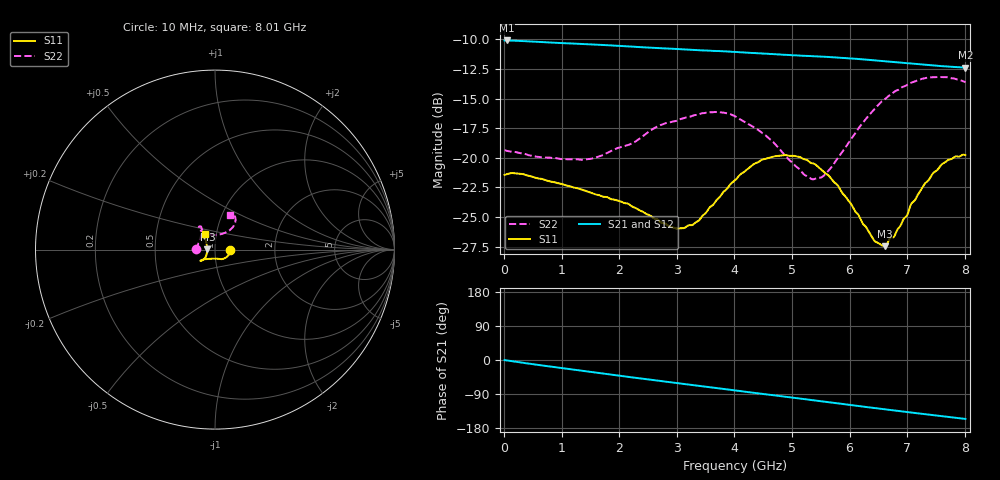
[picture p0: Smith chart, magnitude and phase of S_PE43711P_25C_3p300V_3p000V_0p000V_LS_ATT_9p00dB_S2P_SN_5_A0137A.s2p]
! Device ID: PE43711P
! File Path: z:\PE43711P\CHAR_NOM_04282014\AMB\3p300\LS_ATT_9p00dB\PE43711P_AMB_3p300V_3p000V_0p000V_LS_ATT_9p00dB_S2P_SN_5_A0137A.s2p
! Serial: 5
! Lot: A0137A
! Temp: 25C
! VDD: 3.300
! VSS: 0.000
! Control_Hi: 3.000
! Control_Lo: 0.000
! Attenuation Step: 9.00dB
! Port 1: RF1
! Port 2: RF2
! ThroughPath:1-2
! IDD: 0.00012774
! ISS: -3.74e-008
#  Hz  S  RI  R  50
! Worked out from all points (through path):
!   801 points, 10 MHz to 8.01 GHz, reference 50 ohm
!   highest |S21| = -10.10 dB at 50 MHz (marker M1); lowest = -12.4 dB at 8.01 GHz (marker M2)
!   group delay of S21, straight-line fit = 53.7 ps
!   lowest |S11| = -27.5 dB at 6.61 GHz (marker M3), VSWR 1.09, Z = 45.9 + j0.23 ohm
!   |S11| at or under -10 dB: start of sweep to end of sweep
!   |S22| runs from -21.8 to -13.2 dB; largest |S21 - S12| = 0.00066
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1e7  0.0846 -0.00022  0.3127 -0.00149  0.313 -0.00155  -0.1077 0.000815
5e7  0.0853 -0.00183  0.3127 -0.00644  0.3129 -0.00639  -0.1069 0.00264
1.35e9  0.0562 -0.0472  0.266 -0.1438  0.2662 -0.1439  -0.0881 0.043
2.19e9  0.034 -0.0531  0.2078 -0.2093  0.208 -0.2094  -0.0738 0.087
2.68e9  0.018 -0.0514  0.168 -0.2368  0.1681 -0.2369  -0.0728 0.1153
2.99e9  0.00306 -0.0502  0.1412 -0.2511  0.1412 -0.2512  -0.0751 0.1218
3.28e9  -0.0131 -0.0505  0.1148 -0.2611  0.115 -0.2613  -0.0787 0.1283
3.68e9  -0.0398 -0.0524  0.0783 -0.2712  0.0782 -0.2713  -0.0874 0.1291
4.01e9  -0.0596 -0.054  0.0472 -0.2757  0.047 -0.2759  -0.0908 0.1189
4.34e9  -0.0747 -0.0572  0.0164 -0.2762  0.0164 -0.2764  -0.0812 0.107
4.69e9  -0.0807 -0.0612  -0.0156 -0.2732  -0.0158 -0.2732  -0.0646 0.0954
5.07e9  -0.0792 -0.0634  -0.0493 -0.266  -0.0493 -0.2662  -0.0341 0.0853
5.35e9  -0.0731 -0.0602  -0.073 -0.2583  -0.0731 -0.2586  -0.00627 0.0809
5.62e9  -0.0644 -0.055  -0.0956 -0.2488  -0.0955 -0.2489  0.0248 0.0839
6.42e9  -0.0433 -0.0121  -0.1537 -0.2072  -0.1539 -0.2073  0.0992 0.1251
6.61e9  -0.0423 0.0025  -0.1646 -0.1953  -0.1647 -0.1956  0.1073 0.1402
6.68e9  -0.0439 0.00931  -0.1685 -0.191  -0.1685 -0.1912  0.1098 0.146
6.79e9  -0.044 0.0174  -0.1743 -0.1836  -0.1742 -0.1838  0.1126 0.1541
7.05e9  -0.0482 0.0395  -0.1867 -0.1663  -0.1865 -0.1664  0.1143 0.172
7.45e9  -0.055 0.0663  -0.2023 -0.1387  -0.2024 -0.1388  0.1039 0.1927
7.7e9  -0.0583 0.0781  -0.2103 -0.1213  -0.2103 -0.1211  0.0926 0.1981
8.01e9  -0.0562 0.0859  -0.2186 -0.0995  -0.219 -0.099  0.0817 0.1917
